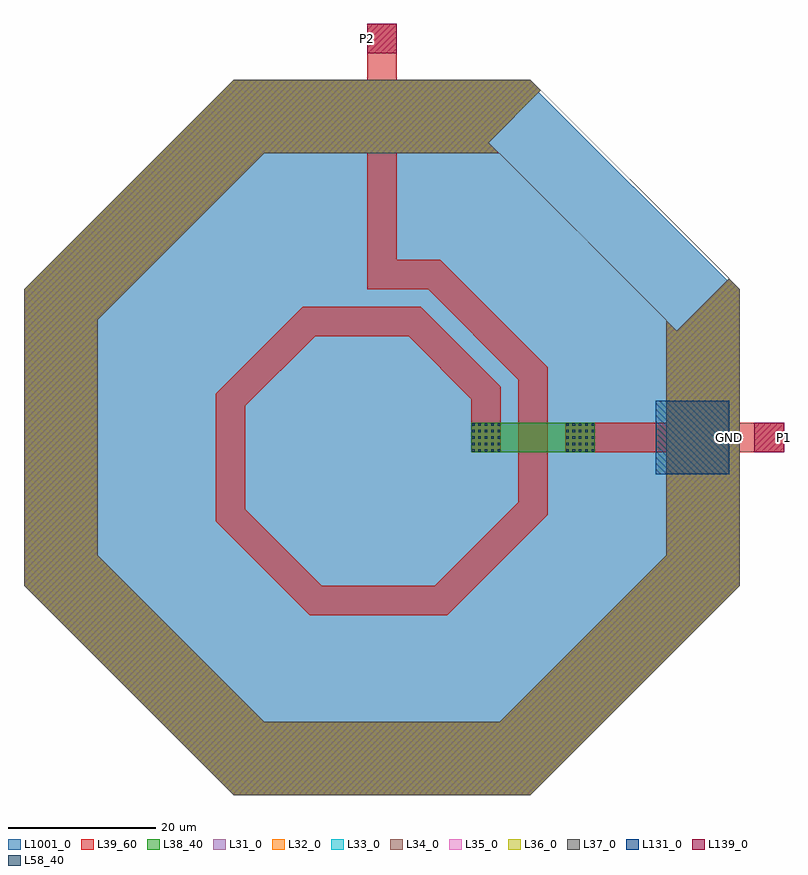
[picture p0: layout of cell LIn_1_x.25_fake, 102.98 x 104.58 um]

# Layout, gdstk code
import gdstk
lib = gdstk.Library(unit=1e-6, precision=1e-09)
def R(c, l, rs):  # rectangles x0, y0, x1, y1
    for r in rs: c.add(gdstk.rectangle(r[:2], r[2:], *l))
def A(c, l, x, y, w, h, nx, ny, dx, dy):  # array of equal rectangles
    R(c, l, [(x+i*dx, y+j*dy, x+i*dx+w, y+j*dy+h) for i in range(nx) for j in range(ny)])
def P(c, l, *ps):  # polygons
    for p in ps: c.add(gdstk.Polygon(p, *l))
L31_0 = (31, 0)
L32_0 = (32, 0)
L33_0 = (33, 0)
L34_0 = (34, 0)
L35_0 = (35, 0)
L36_0 = (36, 0)
L37_0 = (37, 0)
L38_40 = (38, 40)
L39_60 = (39, 60)
L58_40 = (58, 40)
L131_0 = (131, 0)
L139_0 = (139, 0)
L1001_0 = (1001, 0)

lin_1_x_25_fake = lib.new_cell('LIn_1_x.25_fake')
P(lin_1_x_25_fake, L31_0, [(39.962,14.482),(47.033,21.553),(20.088,48.497),(-20.088,48.497),(-48.497,20.088),(-48.497,-20.088),(-20.088,-48.497),(20.088,-48.497),(48.497,-20.088),(48.497,20.088),(21.553,47.033),(14.482,39.962),(38.497,15.946),(38.497,-15.946),(15.946,-38.497),(-15.946,-38.497),(-38.497,-15.946),(-38.497,15.946),(-15.946,38.497),(15.946,38.497)])
P(lin_1_x_25_fake, L32_0, [(39.962,14.482),(47.033,21.553),(20.088,48.497),(-20.088,48.497),(-48.497,20.088),(-48.497,-20.088),(-20.088,-48.497),(20.088,-48.497),(48.497,-20.088),(48.497,20.088),(21.553,47.033),(14.482,39.962),(38.497,15.946),(38.497,-15.946),(15.946,-38.497),(-15.946,-38.497),(-38.497,-15.946),(-38.497,15.946),(-15.946,38.497),(15.946,38.497)])
P(lin_1_x_25_fake, L33_0, [(39.962,14.482),(47.033,21.553),(20.088,48.497),(-20.088,48.497),(-48.497,20.088),(-48.497,-20.088),(-20.088,-48.497),(20.088,-48.497),(48.497,-20.088),(48.497,20.088),(21.553,47.033),(14.482,39.962),(38.497,15.946),(38.497,-15.946),(15.946,-38.497),(-15.946,-38.497),(-38.497,-15.946),(-38.497,15.946),(-15.946,38.497),(15.946,38.497)])
P(lin_1_x_25_fake, L34_0, [(39.962,14.482),(47.033,21.553),(20.088,48.497),(-20.088,48.497),(-48.497,20.088),(-48.497,-20.088),(-20.088,-48.497),(20.088,-48.497),(48.497,-20.088),(48.497,20.088),(21.553,47.033),(14.482,39.962),(38.497,15.946),(38.497,-15.946),(15.946,-38.497),(-15.946,-38.497),(-38.497,-15.946),(-38.497,15.946),(-15.946,38.497),(15.946,38.497)])
P(lin_1_x_25_fake, L35_0, [(39.962,14.482),(47.033,21.553),(20.088,48.497),(-20.088,48.497),(-48.497,20.088),(-48.497,-20.088),(-20.088,-48.497),(20.088,-48.497),(48.497,-20.088),(48.497,20.088),(21.553,47.033),(14.482,39.962),(38.497,15.946),(38.497,-15.946),(15.946,-38.497),(-15.946,-38.497),(-38.497,-15.946),(-38.497,15.946),(-15.946,38.497),(15.946,38.497)])
P(lin_1_x_25_fake, L36_0, [(39.962,14.482),(47.033,21.553),(20.088,48.497),(-20.088,48.497),(-48.497,20.088),(-48.497,-20.088),(-20.088,-48.497),(20.088,-48.497),(48.497,-20.088),(48.497,20.088),(21.553,47.033),(14.482,39.962),(38.497,15.946),(38.497,-15.946),(15.946,-38.497),(-15.946,-38.497),(-38.497,-15.946),(-38.497,15.946),(-15.946,38.497),(15.946,38.497)])
P(lin_1_x_25_fake, L37_0, [(39.962,14.482),(47.033,21.553),(20.088,48.497),(-20.088,48.497),(-48.497,20.088),(-48.497,-20.088),(-20.088,-48.497),(20.088,-48.497),(48.497,-20.088),(48.497,20.088),(21.553,47.033),(14.482,39.962),(38.497,15.946),(38.497,-15.946),(15.946,-38.497),(-15.946,-38.497),(-38.497,-15.946),(-38.497,15.946),(-15.946,38.497),(15.946,38.497)])
R(lin_1_x_25_fake, L38_40, [(12.11,-2,28.86,2)])
P(lin_1_x_25_fake, L38_40, [(39.962,14.482),(47.033,21.553),(20.088,48.497),(-20.088,48.497),(-48.497,20.088),(-48.497,-20.088),(-20.088,-48.497),(20.088,-48.497),(48.497,-20.088),(48.497,20.088),(21.553,47.033),(14.482,39.962),(38.497,15.946),(38.497,-15.946),(15.946,-38.497),(-15.946,-38.497),(-38.497,-15.946),(-38.497,15.946),(-15.946,38.497),(15.946,38.497)])
R(lin_1_x_25_fake, L39_60, [(24.86,-2,54.485,2), (-2,20.08,2,56.08)])
P(lin_1_x_25_fake, L39_60, [(12.11,-2),(16.11,-2),(16.11,6.868),(5.273,17.705),(-10.713,17.705),(-22.485,5.933),(-22.485,-11.373),(-9.784,-24.08),(8.848,-24.08),(22.485,-10.443),(22.485,9.508),(7.913,24.08),(0,24.08),(0,20.08),(6.257,20.08),(18.485,7.852),(18.485,-8.787),(7.192,-20.08),(-8.126,-20.08),(-18.485,-9.717),(-18.485,4.277),(-9.057,13.705),(3.617,13.705),(12.11,5.212)],
  [(39.962,14.482),(47.033,21.553),(20.088,48.497),(-20.088,48.497),(-48.497,20.088),(-48.497,-20.088),(-20.088,-48.497),(20.088,-48.497),(48.497,-20.088),(48.497,20.088),(21.553,47.033),(14.482,39.962),(38.497,15.946),(38.497,-15.946),(15.946,-38.497),(-15.946,-38.497),(-38.497,-15.946),(-38.497,15.946),(-15.946,38.497),(15.946,38.497)])
A(lin_1_x_25_fake, L58_40, 12.197, -1.915, 0.35, 0.35, 5, 5, 0.87, 0.87)
A(lin_1_x_25_fake, L58_40, 24.947, -1.915, 0.35, 0.35, 5, 5, 0.87, 0.87)
R(lin_1_x_25_fake, L131_0, [(37.08,-5,47.08,5)])
R(lin_1_x_25_fake, L139_0, [(50.485,-2,54.485,2), (-2,52.08,2,56.08)])
P(lin_1_x_25_fake, L1001_0, [(48.117,19.931),(19.931,48.117),(-19.931,48.117),(-48.117,19.931),(-48.117,-19.931),(-19.931,-48.117),(19.931,-48.117),(48.117,-19.931)],
  [(48.117,19.931),(19.931,48.117),(-19.931,48.117),(-48.117,19.931),(-48.117,-19.931),(-19.931,-48.117),(19.931,-48.117),(48.117,-19.931)],
  [(48.117,19.931),(19.931,48.117),(-19.931,48.117),(-48.117,19.931),(-48.117,-19.931),(-19.931,-48.117),(19.931,-48.117),(48.117,-19.931)],
  [(48.117,19.931),(19.931,48.117),(-19.931,48.117),(-48.117,19.931),(-48.117,-19.931),(-19.931,-48.117),(19.931,-48.117),(48.117,-19.931)],
  [(48.117,19.931),(19.931,48.117),(-19.931,48.117),(-48.117,19.931),(-48.117,-19.931),(-19.931,-48.117),(19.931,-48.117),(48.117,-19.931)],
  [(48.117,19.931),(19.931,48.117),(-19.931,48.117),(-48.117,19.931),(-48.117,-19.931),(-19.931,-48.117),(19.931,-48.117),(48.117,-19.931)],
  [(48.117,19.931),(19.931,48.117),(-19.931,48.117),(-48.117,19.931),(-48.117,-19.931),(-19.931,-48.117),(19.931,-48.117),(48.117,-19.931)],
  [(48.117,19.931),(19.931,48.117),(-19.931,48.117),(-48.117,19.931),(-48.117,-19.931),(-19.931,-48.117),(19.931,-48.117),(48.117,-19.931)],
  [(48.117,19.931),(19.931,48.117),(-19.931,48.117),(-48.117,19.931),(-48.117,-19.931),(-19.931,-48.117),(19.931,-48.117),(48.117,-19.931)])
lin_1_x_25_fake.add(gdstk.Label('P1', (54.487,0), layer=139, texttype=0))
lin_1_x_25_fake.add(gdstk.Label('P2', (-2,54.081), layer=139, texttype=0))
lin_1_x_25_fake.add(gdstk.Label('GND', (47.081,0), layer=131, texttype=0))

lib.write_gds('LIn_1_x.25_fake.gds')
